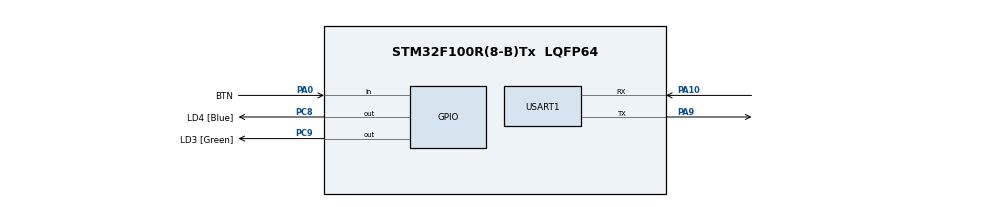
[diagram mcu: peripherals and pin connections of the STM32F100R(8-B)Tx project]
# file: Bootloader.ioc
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Mcu.Family=STM32F1
Mcu.Name=STM32F100R(8-B)Tx
Mcu.Package=LQFP64
NVIC.PriorityGroup=NVIC_PRIORITYGROUP_4
PA0-WKUP.GPIO_Label=BTN
PA0-WKUP.Signal=GPIO_Input
PA10.Mode=Asynchronous
PA10.Signal=USART1_RX
PA13.GPIO_Label=TMS_SWDIO
PA13.Mode=Serial_Wire
PA13.Signal=SYS_JTMS-SWDIO
PA14.GPIO_Label=TCK_SWCLK
PA14.Mode=Serial_Wire
PA14.Signal=SYS_JTCK-SWCLK
PA9.Mode=Asynchronous
PA9.Signal=USART1_TX
PC8.GPIO_Label=LD4 [Blue]
PC8.Signal=GPIO_Output
PC9.GPIO_Label=LD3 [Green]
PC9.Signal=GPIO_Output
PD0-OSC_IN.Mode=HSE-External-Oscillator
PD0-OSC_IN.Signal=RCC_OSC_IN
PD1-OSC_OUT.Mode=HSE-External-Oscillator
PD1-OSC_OUT.Signal=RCC_OSC_OUT
ProjectManager.HeapSize=0x200
ProjectManager.StackSize=0x400
ProjectManager.TargetToolchain=TrueSTUDIO
RCC.APB1Freq_Value=8000000
RCC.APB2Freq_Value=8000000
RCC.SYSCLKSource=RCC_SYSCLKSOURCE_HSE
USART1.VirtualMode=VM_ASYNC
board=STM32VLDISCOVERY

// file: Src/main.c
/**
  ******************************************************************************
  * @file           : main.c
  * @brief          : Main program body
  ******************************************************************************
  ** This notice applies to any and all portions of this file
  * that are not between comment pairs USER CODE BEGIN and
  * USER CODE END. Other portions of this file, whether
  * inserted by the user or by software development tools
  * are owned by their respective copyright owners.
  *
  * COPYRIGHT(c) 2018 STMicroelectronics
  *
  * Redistribution and use in source and binary forms, with or without modification,
  * are permitted provided that the following conditions are met:
  *   1. Redistributions of source code must retain the above copyright notice,
  *      this list of conditions and the following disclaimer.
  *   2. Redistributions in binary form must reproduce the above copyright notice,
  *      this list of conditions and the following disclaimer in the documentation
  *      and/or other materials provided with the distribution.
  *   3. Neither the name of STMicroelectronics nor the names of its contributors
  *      may be used to endorse or promote products derived from this software
  *      without specific prior written permission.
  *
  * THIS SOFTWARE IS PROVIDED BY THE COPYRIGHT HOLDERS AND CONTRIBUTORS "AS IS"
  * AND ANY EXPRESS OR IMPLIED WARRANTIES, INCLUDING, BUT NOT LIMITED TO, THE
  * IMPLIED WARRANTIES OF MERCHANTABILITY AND FITNESS FOR A PARTICULAR PURPOSE ARE
  * DISCLAIMED. IN NO EVENT SHALL THE COPYRIGHT HOLDER OR CONTRIBUTORS BE LIABLE
  * FOR ANY DIRECT, INDIRECT, INCIDENTAL, SPECIAL, EXEMPLARY, OR CONSEQUENTIAL
  * DAMAGES (INCLUDING, BUT NOT LIMITED TO, PROCUREMENT OF SUBSTITUTE GOODS OR
  * SERVICES; LOSS OF USE, DATA, OR PROFITS; OR BUSINESS INTERRUPTION) HOWEVER
  * CAUSED AND ON ANY THEORY OF LIABILITY, WHETHER IN CONTRACT, STRICT LIABILITY,
  * OR TORT (INCLUDING NEGLIGENCE OR OTHERWISE) ARISING IN ANY WAY OUT OF THE USE
  * OF THIS SOFTWARE, EVEN IF ADVISED OF THE POSSIBILITY OF SUCH DAMAGE.
  *
  ******************************************************************************
  */
#include "main.h"
#include "stm32f1xx_hal.h"

/* USER CODE BEGIN Includes */
#include "xmodem.h"
#include "flash.h"
/* USER CODE END Includes */

UART_HandleTypeDef huart1;

/* USER CODE BEGIN PV */
/* Private variables ---------------------------------------------------------*/

/* USER CODE END PV */

void SystemClock_Config(void);
static void MX_GPIO_Init(void);
static void MX_USART1_UART_Init(void);

/* USER CODE BEGIN PFP */
/* Private function prototypes -----------------------------------------------*/

/* USER CODE END PFP */

int main(void)
{

  /* MCU Configuration----------------------------------------------------------*/

  /* Reset of all peripherals, Initializes the Flash interface and the Systick. */
  HAL_Init();

  /* Configure the system clock */
  SystemClock_Config();

  /* Initialize all configured peripherals */
  MX_GPIO_Init();
  MX_USART1_UART_Init();
  /* USER CODE BEGIN 2 */
  /* Send welcome message on startup. */
  uart_transmit_str((uint8_t*)"\n\r================================\n\r");
  uart_transmit_str((uint8_t*)"UART Bootloader\n\r");
  uart_transmit_str((uint8_t*)"https://github.com/ferenc-nemeth\n\r");
  uart_transmit_str((uint8_t*)"================================\n\r\n\r");

  /* If the button is pressed, then jump to the user application,
   * otherwise stay in the bootloader. */
  if(!HAL_GPIO_ReadPin(BTN_GPIO_Port, BTN_Pin))
  {
    uart_transmit_str((uint8_t*)"Jumping to user application...\n\r");
    flash_jump_to_app();
  }
  /* USER CODE END 2 */

  /* Infinite loop */
  /* USER CODE BEGIN WHILE */
  while (1)
  {
    /* Turn on the green LED to indicate, that we are in bootloader mode.*/
    HAL_GPIO_WritePin(GPIOC, LD3_Pin, GPIO_PIN_SET);
    /* Ask for new data and start the Xmodem protocol. */
    uart_transmit_str((uint8_t*)"Please send a new binary file with Xmodem protocol to update the firmware.\n\r");
    xmodem_receive();
    /* We only exit the xmodem protocol, if there are any errors.
     * In that case, notify the user and start over. */
    uart_transmit_str((uint8_t*)"\n\rFailed... Please try again.\n\r");
  /* USER CODE END WHILE */

  }

}

void SystemClock_Config(void)
{

  RCC_OscInitTypeDef RCC_OscInitStruct;
  RCC_ClkInitTypeDef RCC_ClkInitStruct;

    /**Initializes the CPU, AHB and APB busses clocks
    */
  RCC_OscInitStruct.OscillatorType = RCC_OSCILLATORTYPE_HSE;
  RCC_OscInitStruct.HSEState = RCC_HSE_ON;
  RCC_OscInitStruct.PLL.PLLState = RCC_PLL_NONE;
  if (HAL_RCC_OscConfig(&RCC_OscInitStruct) != HAL_OK)
  {
    _Error_Handler(__FILE__, __LINE__);
  }

    /**Initializes the CPU, AHB and APB busses clocks
    */
  RCC_ClkInitStruct.ClockType = RCC_CLOCKTYPE_HCLK|RCC_CLOCKTYPE_SYSCLK
                              |RCC_CLOCKTYPE_PCLK1|RCC_CLOCKTYPE_PCLK2;
  RCC_ClkInitStruct.SYSCLKSource = RCC_SYSCLKSOURCE_HSE;
  RCC_ClkInitStruct.AHBCLKDivider = RCC_SYSCLK_DIV1;
  RCC_ClkInitStruct.APB1CLKDivider = RCC_HCLK_DIV1;
  RCC_ClkInitStruct.APB2CLKDivider = RCC_HCLK_DIV1;

  if (HAL_RCC_ClockConfig(&RCC_ClkInitStruct, FLASH_LATENCY_0) != HAL_OK)
  {
    _Error_Handler(__FILE__, __LINE__);
  }

    /**Configure the Systick interrupt time
    */
  HAL_SYSTICK_Config(HAL_RCC_GetHCLKFreq()/1000);

    /**Configure the Systick
    */
  HAL_SYSTICK_CLKSourceConfig(SYSTICK_CLKSOURCE_HCLK);

  /* SysTick_IRQn interrupt configuration */
  HAL_NVIC_SetPriority(SysTick_IRQn, 0, 0);
}

/* USART1 init function */
static void MX_USART1_UART_Init(void)
{

  huart1.Instance = USART1;
  huart1.Init.BaudRate = 115200;
  huart1.Init.WordLength = UART_WORDLENGTH_8B;
  huart1.Init.StopBits = UART_STOPBITS_1;
  huart1.Init.Parity = UART_PARITY_NONE;
  huart1.Init.Mode = UART_MODE_TX_RX;
  huart1.Init.HwFlowCtl = UART_HWCONTROL_NONE;
  huart1.Init.OverSampling = UART_OVERSAMPLING_16;
  if (HAL_UART_Init(&huart1) != HAL_OK)
  {
    _Error_Handler(__FILE__, __LINE__);
  }

}

/** Configure pins as
        * Analog
        * Input
        * Output
        * EVENT_OUT
        * EXTI
*/
static void MX_GPIO_Init(void)
{

  GPIO_InitTypeDef GPIO_InitStruct;

  /* GPIO Ports Clock Enable */
  __HAL_RCC_GPIOD_CLK_ENABLE();
  __HAL_RCC_GPIOA_CLK_ENABLE();
  __HAL_RCC_GPIOC_CLK_ENABLE();

  /*Configure GPIO pin Output Level */
  HAL_GPIO_WritePin(GPIOC, LD4_Pin|LD3_Pin, GPIO_PIN_RESET);

  /*Configure GPIO pin : BTN_Pin */
  GPIO_InitStruct.Pin = BTN_Pin;
  GPIO_InitStruct.Mode = GPIO_MODE_INPUT;
  GPIO_InitStruct.Pull = GPIO_NOPULL;
  HAL_GPIO_Init(BTN_GPIO_Port, &GPIO_InitStruct);

  /*Configure GPIO pins : LD4_Pin LD3_Pin */
  GPIO_InitStruct.Pin = LD4_Pin|LD3_Pin;
  GPIO_InitStruct.Mode = GPIO_MODE_OUTPUT_PP;
  GPIO_InitStruct.Pull = GPIO_NOPULL;
  GPIO_InitStruct.Speed = GPIO_SPEED_FREQ_LOW;
  HAL_GPIO_Init(GPIOC, &GPIO_InitStruct);

}

/* USER CODE BEGIN 4 */

void uart_clear_overrun_flag (void){
	huart1.Instance->ICR |= (1 << 3);
}

/* USER CODE END 4 */

void _Error_Handler(char *file, int line)
{
  while(1)
  {
  }
}

/************************ (C) COPYRIGHT STMicroelectronics *****END OF FILE****/
